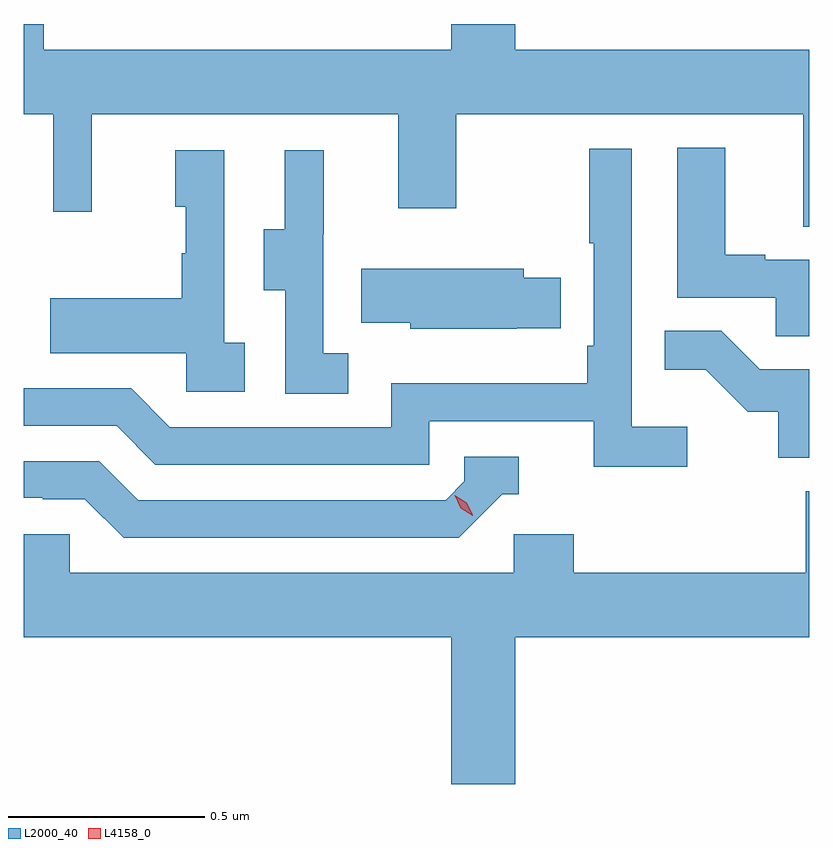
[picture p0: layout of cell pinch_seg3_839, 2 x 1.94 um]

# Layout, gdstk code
import gdstk
lib = gdstk.Library(unit=1e-6, precision=1e-09)
def P(c, l, *ps):  # polygons
    for p in ps: c.add(gdstk.Polygon(p, *l))
L2000_40 = (2000, 40)
L4158_0 = (4158, 0)

pinch_seg3_839 = lib.new_cell('pinch_seg3_839')
P(pinch_seg3_839, L2000_40, [(873.212,723.724),(872.464,723.724),(872.464,723.79),(872.3,723.79),(872.3,723.724),(871.262,723.724),(871.262,723.79),(871.212,723.79),(871.212,723.56),(871.287,723.56),(871.287,723.312),(871.385,723.312),(871.385,723.56),(872.165,723.56),(872.165,723.321),(872.313,723.321),(872.313,723.56),(873.197,723.56),(873.197,723.274),(873.212,723.274)],
  [(873.212,723.189),(873.101,723.189),(873.101,723.202),(872.998,723.202),(872.998,723.475),(872.876,723.475),(872.876,723.093),(873.127,723.093),(873.127,722.995),(873.212,722.995)],
  [(872.902,722.764),(872.76,722.764),(872.76,723.472),(872.652,723.472),(872.652,723.232),(872.664,723.232),(872.664,722.971),(872.647,722.971),(872.647,722.875),(872.148,722.875),(872.148,722.763),(871.584,722.763),(871.485,722.862),(871.212,722.862),(871.212,722.766),(871.448,722.766),(871.547,722.667),(872.244,722.667),(872.244,722.778),(872.663,722.778),(872.663,722.662),(872.902,722.662)],
  [(871.774,722.978),(871.722,722.978),(871.722,723.469),(871.598,723.469),(871.598,723.324),(871.624,723.324),(871.624,723.206),(871.614,723.206),(871.614,723.091),(871.279,723.091),(871.279,722.951),(871.626,722.951),(871.626,722.853),(871.774,722.853)],
  [(872.038,722.951),(871.974,722.951),(871.974,723.255),(871.976,723.255),(871.976,723.469),(871.877,723.469),(871.877,723.267),(871.823,723.267),(871.823,723.112),(871.878,723.112),(871.878,722.848),(872.038,722.848)],
  [(872.468,723.015),(872.579,723.015),(872.579,723.144),(872.485,723.144),(872.485,723.166),(872.071,723.166),(872.071,723.029),(872.196,723.029),(872.196,723.014),(872.468,723.014)],
  [(873.212,722.91),(873.086,722.91),(872.988,723.008),(872.845,723.008),(872.845,722.909),(872.949,722.909),(873.056,722.802),(873.133,722.802),(873.133,722.685),(873.212,722.685)],
  [(872.43,722.592),(872.473,722.592),(872.473,722.688),(872.334,722.688),(872.334,722.625),(872.286,722.577),(871.503,722.577),(871.404,722.676),(871.212,722.676),(871.212,722.583),(871.26,722.583),(871.26,722.58),(871.367,722.58),(871.466,722.481),(872.319,722.481)],
  [(872.464,722.228),(873.212,722.228),(873.212,722.6),(873.203,722.6),(873.203,722.392),(872.612,722.392),(872.612,722.49),(872.46,722.49),(872.46,722.392),(871.329,722.392),(871.329,722.49),(871.212,722.49),(871.212,722.228),(872.3,722.228),(872.3,721.854),(872.464,721.854)])
P(pinch_seg3_839, L4158_0, [(872.355,722.537),(872.325,722.557),(872.309,722.59),(872.309,722.59),(872.31,722.59),(872.34,722.57),(872.355,722.538),(872.355,722.537)])

lib.write_gds('pinch_seg3_839.gds')
